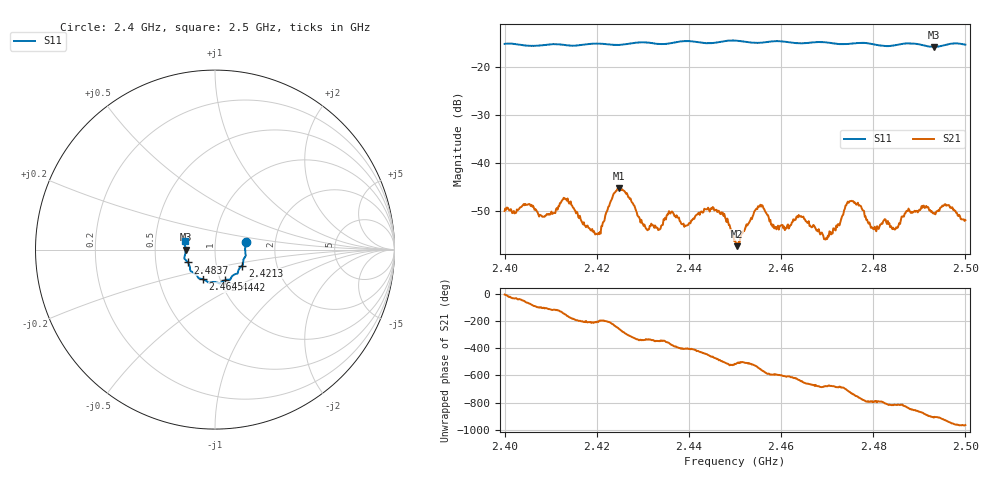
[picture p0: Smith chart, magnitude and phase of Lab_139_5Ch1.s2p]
# Hz S RI R 50
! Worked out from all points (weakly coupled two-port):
!   601 points, 2.4 GHz to 2.5 GHz, reference 50 ohm
!   highest |S21| = -45.33 dB at 2.4248 GHz (marker M1); lowest = -57.4 dB at 2.4503 GHz (marker M2)
!   lowest |S11| = -15.7 dB at 2.4932 GHz (marker M3), VSWR 1.39, Z = 35.9 - j0.0509 ohm
!   |S11| at or under -10 dB: start of sweep to end of sweep
!   S12 and S22 are empty: the file has one direction only
!   S11 on the Smith chart (normalised r, x): 2.4 GHz: 1.41, +0.12; 2.4213 GHz: 1.33, -0.25; 2.4442 GHz: 1.05, -0.37; 2.4645 GHz: 0.83, -0.29; 2.4837 GHz: 0.73, -0.11; 2.5 GHz: 0.71, +0.07
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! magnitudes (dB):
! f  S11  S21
! 2.4 GHz  -15.1  -50.1
! 2.4085 GHz  -15.4  -51.2
! 2.4132 GHz  -15.3  -47.5
! 2.4167 GHz  -15.3  -52.2
! 2.4213 GHz  -15.1  -52.5
! 2.4248 GHz  -15.3  -45.3
! 2.4333 GHz  -15.1  -54.1
! 2.4442 GHz  -15.0  -49.4
! 2.4475 GHz  -14.5  -51.1
! 2.45 GHz  -14.4  -56.2
! 2.4503 GHz  -14.4  -57.4
! 2.4555 GHz  -14.8  -48.8
! 2.459 GHz  -14.5  -53.9
! 2.4645 GHz  -15.0  -51.3
! 2.4667 GHz  -14.8  -53.5
! 2.4698 GHz  -14.8  -55.7
! 2.4752 GHz  -15.0  -48.0
! 2.4802 GHz  -15.2  -53.9
! 2.4833 GHz  -15.6  -52.7
! 2.4837 GHz  -15.5  -53.5
! 2.4932 GHz  -15.7  -50.5
! 2.5 GHz  -15.3  -52.0
